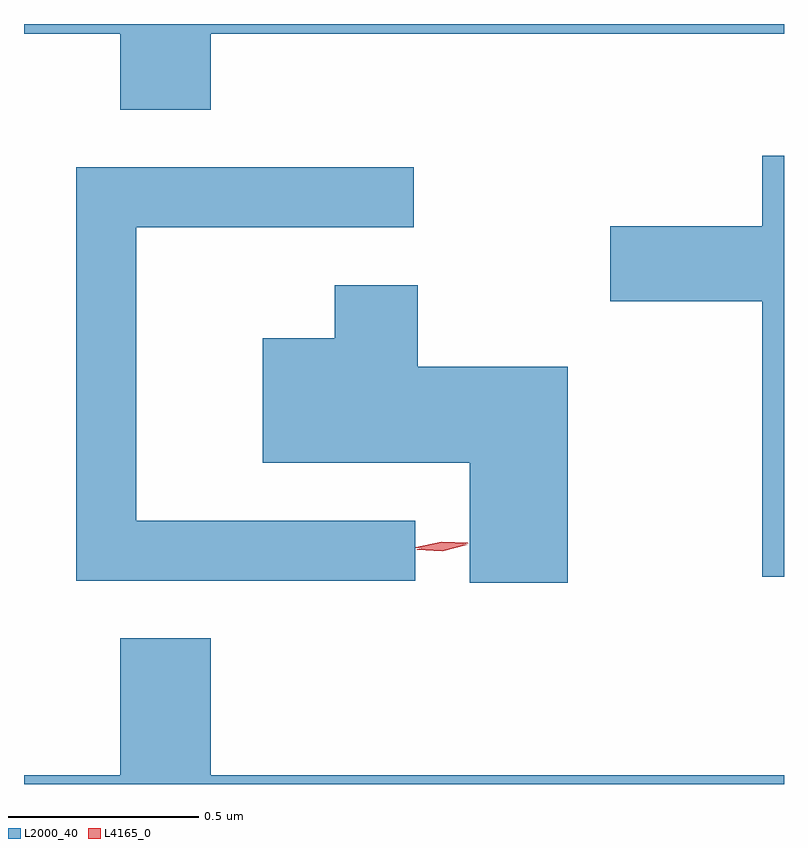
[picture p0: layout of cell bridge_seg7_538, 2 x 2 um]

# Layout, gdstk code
import gdstk
lib = gdstk.Library(unit=1e-6, precision=1e-09)
def P(c, l, *ps):  # polygons
    for p in ps: c.add(gdstk.Polygon(p, *l))
L2000_40 = (2000, 40)
L4165_0 = (4165, 0)

bridge_seg7_538 = lib.new_cell('bridge_seg7_538')
P(bridge_seg7_538, L2000_40, [(1323.474,1725.416),(1324.983,1725.416),(1324.983,1725.441),(1322.983,1725.441),(1322.983,1725.416),(1323.236,1725.416),(1323.236,1725.216),(1323.474,1725.216)],
  [(1324.983,1725.094),(1324.926,1725.094),(1324.926,1724.909),(1324.526,1724.909),(1324.526,1724.711),(1324.926,1724.711),(1324.926,1723.986),(1324.983,1723.986)],
  [(1324.013,1724.134),(1323.279,1724.134),(1323.279,1724.906),(1324.008,1724.906),(1324.008,1725.064),(1323.121,1725.064),(1323.121,1723.976),(1324.013,1723.976)],
  [(1324.414,1724.539),(1324.019,1724.539),(1324.019,1724.754),(1323.801,1724.754),(1323.801,1724.614),(1323.611,1724.614),(1323.611,1724.286),(1324.156,1724.286),(1324.156,1723.971),(1324.414,1723.971)],
  [(1324.983,1723.464),(1323.474,1723.464),(1323.474,1723.824),(1323.236,1723.824),(1323.236,1723.464),(1322.983,1723.464),(1322.983,1723.441),(1324.983,1723.441)])
P(bridge_seg7_538, L4165_0, [(1324.083,1724.059),(1324.014,1724.063),(1324.014,1724.063),(1324.014,1724.064),(1324.082,1724.079),(1324.151,1724.076),(1324.152,1724.075),(1324.151,1724.075)],
  [(1324.084,1724.054),(1324.018,1724.058),(1324.017,1724.058),(1324.018,1724.059),(1324.083,1724.074),(1324.149,1724.071),(1324.15,1724.07),(1324.149,1724.07)])

lib.write_gds('bridge_seg7_538.gds')
